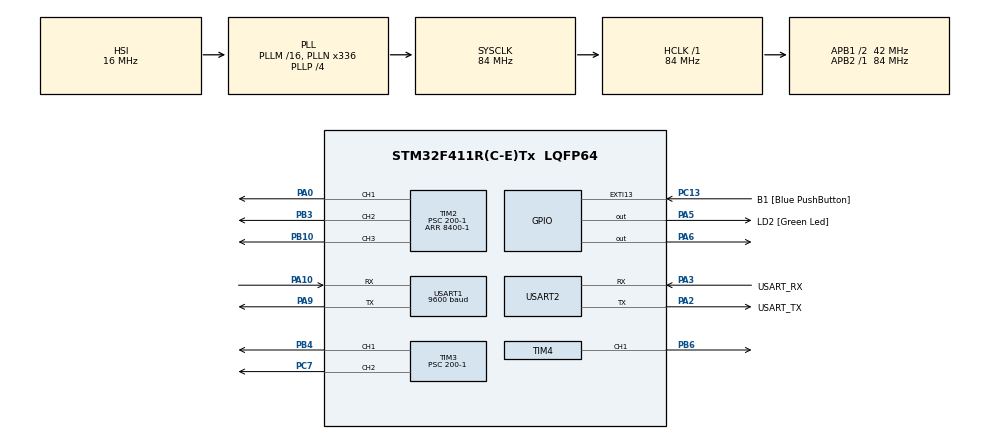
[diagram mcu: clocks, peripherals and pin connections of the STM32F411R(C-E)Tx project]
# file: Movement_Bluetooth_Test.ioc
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FREERTOS.Tasks01=bluetooth,24,128,BluetoothTask,Default,NULL,Dynamic,NULL,NULL;moveRobotArm,24,128,MoveRobotArmTask,Default,NULL,Dynamic,NULL,NULL;colorSensor,24,128,ColorSensorTask,Default,NULL,Dynamic,NULL,NULL
FREERTOS.configUSE_NEWLIB_REENTRANT=1
Mcu.Family=STM32F4
Mcu.Name=STM32F411R(C-E)Tx
Mcu.Package=LQFP64
NVIC.PriorityGroup=NVIC_PRIORITYGROUP_4
NVIC.TIM1_UP_TIM10_IRQn=true\:15\:0\:false\:false\:true\:false\:false\:true\:true
NVIC.TimeBase=TIM1_UP_TIM10_IRQn
NVIC.TimeBaseIP=TIM1
NVIC.USART1_IRQn=true\:5\:0\:false\:false\:true\:true\:true\:true\:true
PA0-WKUP.Signal=S_TIM2_CH1_ETR
PA10.Mode=Asynchronous
PA10.Signal=USART1_RX
PA13.GPIO_Label=TMS
PA13.Mode=Serial_Wire
PA13.Signal=SYS_JTMS-SWDIO
PA14.GPIO_Label=TCK
PA14.Mode=Serial_Wire
PA14.Signal=SYS_JTCK-SWCLK
PA2.GPIO_Label=USART_TX
PA2.Mode=Asynchronous
PA2.Signal=USART2_TX
PA3.GPIO_Label=USART_RX
PA3.Mode=Asynchronous
PA3.Signal=USART2_RX
PA5.GPIO_Label=LD2 [Green Led]
PA5.Signal=GPIO_Output
PA6.Signal=GPIO_Output
PA9.Mode=Asynchronous
PA9.Signal=USART1_TX
PB10.Signal=S_TIM2_CH3
PB3.Signal=S_TIM2_CH2
PB4.Signal=S_TIM3_CH1
PB6.Signal=S_TIM4_CH1
PC13-ANTI_TAMP.GPIO_Label=B1 [Blue PushButton]
PC13-ANTI_TAMP.GPIO_ModeDefaultEXTI=GPIO_MODE_IT_FALLING
PC13-ANTI_TAMP.Signal=GPXTI13
PC14-OSC32_IN.Mode=LSE-External-Oscillator
PC14-OSC32_IN.Signal=RCC_OSC32_IN
PC15-OSC32_OUT.Mode=LSE-External-Oscillator
PC15-OSC32_OUT.Signal=RCC_OSC32_OUT
PC7.Signal=S_TIM3_CH2
PH0\ -\ OSC_IN.Mode=HSE-External-Clock-Source
PH0\ -\ OSC_IN.Signal=RCC_OSC_IN
PH1\ -\ OSC_OUT.Mode=HSE-External-Clock-Source
PH1\ -\ OSC_OUT.Signal=RCC_OSC_OUT
ProjectManager.HeapSize=0x200
ProjectManager.StackSize=0x400
ProjectManager.TargetToolchain=STM32CubeIDE
RCC.48MHZClocksFreq_Value=84000000
RCC.AHBFreq_Value=84000000
RCC.APB1CLKDivider=RCC_HCLK_DIV2
RCC.APB1Freq_Value=42000000
RCC.APB1TimFreq_Value=84000000
RCC.APB2Freq_Value=84000000
RCC.APB2TimFreq_Value=84000000
RCC.CortexFreq_Value=84000000
RCC.FLatency-AdvancedSettings=FLASH_LATENCY_2
RCC.HCLKFreq_Value=84000000
RCC.HSE_VALUE=8000000
RCC.HSI_VALUE=16000000
RCC.PLLN=336
RCC.PLLP=RCC_PLLP_DIV4
RCC.SYSCLKFreq_VALUE=84000000
RCC.SYSCLKSource=RCC_SYSCLKSOURCE_PLLCLK
RCC.VCOOutputFreq_Value=336000000
SH.S_TIM2_CH1_ETR.0=TIM2_CH1,PWM Generation1 CH1
SH.S_TIM2_CH2.0=TIM2_CH2,PWM Generation2 CH2
SH.S_TIM2_CH3.0=TIM2_CH3,PWM Generation3 CH3
SH.S_TIM3_CH1.0=TIM3_CH1,PWM Generation1 CH1
SH.S_TIM3_CH2.0=TIM3_CH2,PWM Generation2 CH2
SH.S_TIM4_CH1.0=TIM4_CH1,PWM Generation1 CH1
TIM2.AutoReloadPreload=TIM_AUTORELOAD_PRELOAD_ENABLE
TIM2.Channel-PWM\ Generation1\ CH1=TIM_CHANNEL_1
TIM2.Channel-PWM\ Generation2\ CH2=TIM_CHANNEL_2
TIM2.Channel-PWM\ Generation3\ CH3=TIM_CHANNEL_3
TIM2.Period=8400-1
TIM2.Prescaler=200-1
TIM3.AutoReloadPreload=TIM_AUTORELOAD_PRELOAD_ENABLE
TIM3.Channel-PWM\ Generation1\ CH1=TIM_CHANNEL_1
TIM3.Channel-PWM\ Generation2\ CH2=TIM_CHANNEL_2
TIM3.Period=8400-1
TIM3.Prescaler=200-1
TIM4.Channel-PWM\ Generation1\ CH1=TIM_CHANNEL_1
TIM4.Prescaler=200-1
USART1.BaudRate=9600
USART1.VirtualMode=VM_ASYNC
USART2.VirtualMode=VM_ASYNC
VP_FREERTOS_VS_CMSIS_V2.Mode=CMSIS_V2
VP_SYS_VS_tim1.Mode=TIM1
VP_TIM2_VS_ClockSourceINT.Mode=Internal
VP_TIM3_VS_ClockSourceINT.Mode=Internal
VP_TIM4_VS_ClockSourceINT.Mode=Internal
board=NUCLEO-F411RE

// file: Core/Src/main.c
/* USER CODE BEGIN Header */
/**
  ******************************************************************************
  * @file           : main.c
  * @brief          : Main program body
  ******************************************************************************
  * @attention
  *
  * Copyright (c) 2025 STMicroelectronics.
  * All rights reserved.
  *
  * This software is licensed under terms that can be found in the LICENSE file
  * in the root directory of this software component.
  * If no LICENSE file comes with this software, it is provided AS-IS.
  *
  ******************************************************************************
  */
/* USER CODE END Header */
#include "main.h"
#include "cmsis_os.h"

/* USER CODE BEGIN Includes */
#include "arm.h"
#include <string.h>
#include <stdio.h>
#include <stdlib.h>
#include <stdbool.h>
/* USER CODE END Includes */

TIM_HandleTypeDef htim2;
TIM_HandleTypeDef htim3;
TIM_HandleTypeDef htim4;

UART_HandleTypeDef huart1;
UART_HandleTypeDef huart2;

/* Definitions for bluetooth */
osThreadId_t bluetoothHandle;
const osThreadAttr_t bluetooth_attributes = {
  .name = "bluetooth",
  .stack_size = 128 * 4,
  .priority = (osPriority_t) osPriorityNormal,
};
/* Definitions for moveRobotArm */
osThreadId_t moveRobotArmHandle;
const osThreadAttr_t moveRobotArm_attributes = {
  .name = "moveRobotArm",
  .stack_size = 128 * 4,
  .priority = (osPriority_t) osPriorityNormal,
};
/* USER CODE BEGIN PV */
bool is_ready = 0;
bool move_arm = 0;

uint8_t buffer[14];

uint8_t base_angle;
uint8_t shoulder_angle;
uint8_t elbow_angle;

uint8_t object_colour;
/* USER CODE END PV */

void SystemClock_Config(void);
static void MX_GPIO_Init(void);
static void MX_USART2_UART_Init(void);
static void MX_TIM2_Init(void);
static void MX_TIM3_Init(void);
static void MX_TIM4_Init(void);
static void MX_USART1_UART_Init(void);
void BluetoothTask(void *argument);
void MoveRobotArmTask(void *argument);

int main(void)
{

  /* MCU Configuration--------------------------------------------------------*/

  /* Reset of all peripherals, Initializes the Flash interface and the Systick. */
  HAL_Init();

  /* Configure the system clock */
  SystemClock_Config();

  /* Initialize all configured peripherals */
  MX_GPIO_Init();
  MX_USART2_UART_Init();
  MX_TIM2_Init();
  MX_TIM3_Init();
  MX_TIM4_Init();
  MX_USART1_UART_Init();
  /* USER CODE BEGIN 2 */

  HAL_UART_Receive_IT(&huart1, buffer, 14); // init callback function

  Init_arm(); // init arm

  // prepare and send the ready signal to pi to receive object coordinates
  char msg_ready[2];
  strcpy(msg_ready, "1");
  HAL_UART_Transmit(&huart1, (uint8_t*) msg_ready, strlen(msg_ready), HAL_MAX_DELAY);
  /* USER CODE END 2 */

  /* Init scheduler */
  osKernelInitialize();

  /* Create the thread(s) */
  /* creation of bluetooth */
  bluetoothHandle = osThreadNew(BluetoothTask, NULL, &bluetooth_attributes);

  /* creation of moveRobotArm */
  moveRobotArmHandle = osThreadNew(MoveRobotArmTask, NULL, &moveRobotArm_attributes);

  /* Start scheduler */
  osKernelStart();

  /* We should never get here as control is now taken by the scheduler */

  /* Infinite loop */
  while (1)
  {

  }
}

void SystemClock_Config(void)
{
  RCC_OscInitTypeDef RCC_OscInitStruct = {0};
  RCC_ClkInitTypeDef RCC_ClkInitStruct = {0};

  /** Configure the main internal regulator output voltage
  */
  __HAL_RCC_PWR_CLK_ENABLE();
  __HAL_PWR_VOLTAGESCALING_CONFIG(PWR_REGULATOR_VOLTAGE_SCALE1);

  /** Initializes the RCC Oscillators according to the specified parameters
  * in the RCC_OscInitTypeDef structure.
  */
  RCC_OscInitStruct.OscillatorType = RCC_OSCILLATORTYPE_HSI;
  RCC_OscInitStruct.HSIState = RCC_HSI_ON;
  RCC_OscInitStruct.HSICalibrationValue = RCC_HSICALIBRATION_DEFAULT;
  RCC_OscInitStruct.PLL.PLLState = RCC_PLL_ON;
  RCC_OscInitStruct.PLL.PLLSource = RCC_PLLSOURCE_HSI;
  RCC_OscInitStruct.PLL.PLLM = 16;
  RCC_OscInitStruct.PLL.PLLN = 336;
  RCC_OscInitStruct.PLL.PLLP = RCC_PLLP_DIV4;
  RCC_OscInitStruct.PLL.PLLQ = 4;
  if (HAL_RCC_OscConfig(&RCC_OscInitStruct) != HAL_OK)
  {
    Error_Handler();
  }

  /** Initializes the CPU, AHB and APB buses clocks
  */
  RCC_ClkInitStruct.ClockType = RCC_CLOCKTYPE_HCLK|RCC_CLOCKTYPE_SYSCLK
                              |RCC_CLOCKTYPE_PCLK1|RCC_CLOCKTYPE_PCLK2;
  RCC_ClkInitStruct.SYSCLKSource = RCC_SYSCLKSOURCE_PLLCLK;
  RCC_ClkInitStruct.AHBCLKDivider = RCC_SYSCLK_DIV1;
  RCC_ClkInitStruct.APB1CLKDivider = RCC_HCLK_DIV2;
  RCC_ClkInitStruct.APB2CLKDivider = RCC_HCLK_DIV1;

  if (HAL_RCC_ClockConfig(&RCC_ClkInitStruct, FLASH_LATENCY_2) != HAL_OK)
  {
    Error_Handler();
  }
}

static void MX_TIM2_Init(void)
{

  TIM_ClockConfigTypeDef sClockSourceConfig = {0};
  TIM_MasterConfigTypeDef sMasterConfig = {0};
  TIM_OC_InitTypeDef sConfigOC = {0};

  htim2.Instance = TIM2;
  htim2.Init.Prescaler = 200-1;
  htim2.Init.CounterMode = TIM_COUNTERMODE_UP;
  htim2.Init.Period = 8400-1;
  htim2.Init.ClockDivision = TIM_CLOCKDIVISION_DIV1;
  htim2.Init.AutoReloadPreload = TIM_AUTORELOAD_PRELOAD_ENABLE;
  if (HAL_TIM_Base_Init(&htim2) != HAL_OK)
  {
    Error_Handler();
  }
  sClockSourceConfig.ClockSource = TIM_CLOCKSOURCE_INTERNAL;
  if (HAL_TIM_ConfigClockSource(&htim2, &sClockSourceConfig) != HAL_OK)
  {
    Error_Handler();
  }
  if (HAL_TIM_PWM_Init(&htim2) != HAL_OK)
  {
    Error_Handler();
  }
  sMasterConfig.MasterOutputTrigger = TIM_TRGO_RESET;
  sMasterConfig.MasterSlaveMode = TIM_MASTERSLAVEMODE_DISABLE;
  if (HAL_TIMEx_MasterConfigSynchronization(&htim2, &sMasterConfig) != HAL_OK)
  {
    Error_Handler();
  }
  sConfigOC.OCMode = TIM_OCMODE_PWM1;
  sConfigOC.Pulse = 0;
  sConfigOC.OCPolarity = TIM_OCPOLARITY_HIGH;
  sConfigOC.OCFastMode = TIM_OCFAST_DISABLE;
  if (HAL_TIM_PWM_ConfigChannel(&htim2, &sConfigOC, TIM_CHANNEL_1) != HAL_OK)
  {
    Error_Handler();
  }
  if (HAL_TIM_PWM_ConfigChannel(&htim2, &sConfigOC, TIM_CHANNEL_2) != HAL_OK)
  {
    Error_Handler();
  }
  if (HAL_TIM_PWM_ConfigChannel(&htim2, &sConfigOC, TIM_CHANNEL_3) != HAL_OK)
  {
    Error_Handler();
  }
  HAL_TIM_MspPostInit(&htim2);

}

static void MX_TIM3_Init(void)
{

  TIM_ClockConfigTypeDef sClockSourceConfig = {0};
  TIM_MasterConfigTypeDef sMasterConfig = {0};
  TIM_OC_InitTypeDef sConfigOC = {0};

  htim3.Instance = TIM3;
  htim3.Init.Prescaler = 200-1;
  htim3.Init.CounterMode = TIM_COUNTERMODE_UP;
  htim3.Init.Period = 8400-1;
  htim3.Init.ClockDivision = TIM_CLOCKDIVISION_DIV1;
  htim3.Init.AutoReloadPreload = TIM_AUTORELOAD_PRELOAD_ENABLE;
  if (HAL_TIM_Base_Init(&htim3) != HAL_OK)
  {
    Error_Handler();
  }
  sClockSourceConfig.ClockSource = TIM_CLOCKSOURCE_INTERNAL;
  if (HAL_TIM_ConfigClockSource(&htim3, &sClockSourceConfig) != HAL_OK)
  {
    Error_Handler();
  }
  if (HAL_TIM_PWM_Init(&htim3) != HAL_OK)
  {
    Error_Handler();
  }
  sMasterConfig.MasterOutputTrigger = TIM_TRGO_RESET;
  sMasterConfig.MasterSlaveMode = TIM_MASTERSLAVEMODE_DISABLE;
  if (HAL_TIMEx_MasterConfigSynchronization(&htim3, &sMasterConfig) != HAL_OK)
  {
    Error_Handler();
  }
  sConfigOC.OCMode = TIM_OCMODE_PWM1;
  sConfigOC.Pulse = 0;
  sConfigOC.OCPolarity = TIM_OCPOLARITY_HIGH;
  sConfigOC.OCFastMode = TIM_OCFAST_DISABLE;
  if (HAL_TIM_PWM_ConfigChannel(&htim3, &sConfigOC, TIM_CHANNEL_1) != HAL_OK)
  {
    Error_Handler();
  }
  if (HAL_TIM_PWM_ConfigChannel(&htim3, &sConfigOC, TIM_CHANNEL_2) != HAL_OK)
  {
    Error_Handler();
  }
  HAL_TIM_MspPostInit(&htim3);

}

static void MX_TIM4_Init(void)
{

  TIM_ClockConfigTypeDef sClockSourceConfig = {0};
  TIM_MasterConfigTypeDef sMasterConfig = {0};
  TIM_OC_InitTypeDef sConfigOC = {0};

  htim4.Instance = TIM4;
  htim4.Init.Prescaler = 200-1;
  htim4.Init.CounterMode = TIM_COUNTERMODE_UP;
  htim4.Init.Period = 65535;
  htim4.Init.ClockDivision = TIM_CLOCKDIVISION_DIV1;
  htim4.Init.AutoReloadPreload = TIM_AUTORELOAD_PRELOAD_DISABLE;
  if (HAL_TIM_Base_Init(&htim4) != HAL_OK)
  {
    Error_Handler();
  }
  sClockSourceConfig.ClockSource = TIM_CLOCKSOURCE_INTERNAL;
  if (HAL_TIM_ConfigClockSource(&htim4, &sClockSourceConfig) != HAL_OK)
  {
    Error_Handler();
  }
  if (HAL_TIM_PWM_Init(&htim4) != HAL_OK)
  {
    Error_Handler();
  }
  sMasterConfig.MasterOutputTrigger = TIM_TRGO_RESET;
  sMasterConfig.MasterSlaveMode = TIM_MASTERSLAVEMODE_DISABLE;
  if (HAL_TIMEx_MasterConfigSynchronization(&htim4, &sMasterConfig) != HAL_OK)
  {
    Error_Handler();
  }
  sConfigOC.OCMode = TIM_OCMODE_PWM1;
  sConfigOC.Pulse = 0;
  sConfigOC.OCPolarity = TIM_OCPOLARITY_HIGH;
  sConfigOC.OCFastMode = TIM_OCFAST_DISABLE;
  if (HAL_TIM_PWM_ConfigChannel(&htim4, &sConfigOC, TIM_CHANNEL_1) != HAL_OK)
  {
    Error_Handler();
  }
  HAL_TIM_MspPostInit(&htim4);

}

static void MX_USART1_UART_Init(void)
{

  huart1.Instance = USART1;
  huart1.Init.BaudRate = 9600;
  huart1.Init.WordLength = UART_WORDLENGTH_8B;
  huart1.Init.StopBits = UART_STOPBITS_1;
  huart1.Init.Parity = UART_PARITY_NONE;
  huart1.Init.Mode = UART_MODE_TX_RX;
  huart1.Init.HwFlowCtl = UART_HWCONTROL_NONE;
  huart1.Init.OverSampling = UART_OVERSAMPLING_16;
  if (HAL_UART_Init(&huart1) != HAL_OK)
  {
    Error_Handler();
  }

}

static void MX_USART2_UART_Init(void)
{

  huart2.Instance = USART2;
  huart2.Init.BaudRate = 115200;
  huart2.Init.WordLength = UART_WORDLENGTH_8B;
  huart2.Init.StopBits = UART_STOPBITS_1;
  huart2.Init.Parity = UART_PARITY_NONE;
  huart2.Init.Mode = UART_MODE_TX_RX;
  huart2.Init.HwFlowCtl = UART_HWCONTROL_NONE;
  huart2.Init.OverSampling = UART_OVERSAMPLING_16;
  if (HAL_UART_Init(&huart2) != HAL_OK)
  {
    Error_Handler();
  }

}

static void MX_GPIO_Init(void)
{
  GPIO_InitTypeDef GPIO_InitStruct = {0};

  /* GPIO Ports Clock Enable */
  __HAL_RCC_GPIOC_CLK_ENABLE();
  __HAL_RCC_GPIOH_CLK_ENABLE();
  __HAL_RCC_GPIOA_CLK_ENABLE();
  __HAL_RCC_GPIOB_CLK_ENABLE();

  /*Configure GPIO pin Output Level */
  HAL_GPIO_WritePin(GPIOA, LD2_Pin|GPIO_PIN_6, GPIO_PIN_RESET);

  /*Configure GPIO pin : B1_Pin */
  GPIO_InitStruct.Pin = B1_Pin;
  GPIO_InitStruct.Mode = GPIO_MODE_IT_FALLING;
  GPIO_InitStruct.Pull = GPIO_NOPULL;
  HAL_GPIO_Init(B1_GPIO_Port, &GPIO_InitStruct);

  /*Configure GPIO pins : LD2_Pin PA6 */
  GPIO_InitStruct.Pin = LD2_Pin|GPIO_PIN_6;
  GPIO_InitStruct.Mode = GPIO_MODE_OUTPUT_PP;
  GPIO_InitStruct.Pull = GPIO_NOPULL;
  GPIO_InitStruct.Speed = GPIO_SPEED_FREQ_LOW;
  HAL_GPIO_Init(GPIOA, &GPIO_InitStruct);

}

/* USER CODE BEGIN 4 */
void HAL_UART_RxCpltCallback(UART_HandleTypeDef *huart){
	if (huart->Instance == USART1) {
		char temp_buffer[14];
		strcpy(temp_buffer, buffer); // copy received coords into string

		char *token; // extract coods from string
		token = strtok(temp_buffer, ",");
		if (token != NULL) {
			base_angle = atoi(token);
	    }

		token = strtok(NULL, ",");
		if (token != NULL) {
			shoulder_angle = atoi(token);
		}

		token = strtok(NULL, ",");
		if (token != NULL) {
			elbow_angle = atoi(token);
//			if(elbow_angle >= 10)
//				elbow_angle -= 10;
		}

		token = strtok(NULL, ",");
		if (token != NULL) {
			object_colour = atoi(token);
		}

		move_arm = 1; // set signal to move arm

	    HAL_UART_Receive_IT(&huart1, buffer, 14); // restart the callback function
	}
}
/* USER CODE END 4 */

void BluetoothTask(void *argument)
{
  /* USER CODE BEGIN 5 */
  /* Infinite loop */

  char msg_ready[2];
  strcpy(msg_ready, "1"); // ready message for pi

  for(;;)
  {
	  if (is_ready){                                                                          // if arm ready
		  HAL_UART_Transmit(&huart1, (uint8_t*) msg_ready, strlen(msg_ready), HAL_MAX_DELAY); // send ready signal to pi
		  is_ready = 0;                                                                       // reset ready signal
	  }
    osDelay(1);
  }
  /* USER CODE END 5 */
}

void MoveRobotArmTask(void *argument)
{
  /* USER CODE BEGIN MoveRobotArmTask */
  /* Infinite loop */
  for(;;){
	  if(move_arm){                                                                   // if received coords move arm
	  		  move_arm = 0;                                                           // reset move signal
	  		  pick_up_object(base_angle, shoulder_angle, elbow_angle, object_colour); // pick up and sort the object
	  		  is_ready = 1;                                                           // signal arm is ready
	  }
    osDelay(1);
  }
  /* USER CODE END MoveRobotArmTask */
}

void HAL_TIM_PeriodElapsedCallback(TIM_HandleTypeDef *htim)
{
  if (htim->Instance == TIM1)
  {
    HAL_IncTick();
  }
}

void Error_Handler(void)
{
  __disable_irq();
  while (1)
  {
  }
}
